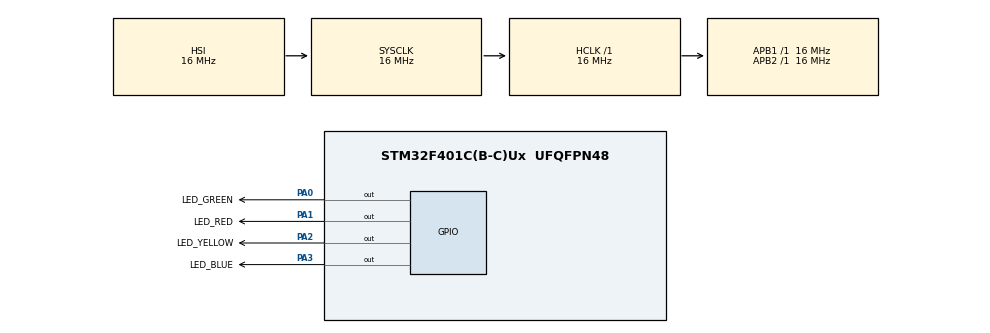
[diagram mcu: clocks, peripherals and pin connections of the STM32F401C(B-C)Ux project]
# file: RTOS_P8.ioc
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FREERTOS.Tasks01=defaultTask,24,128,StartDefaultTask,Default,NULL,Dynamic,NULL,NULL;GreenLedTask,24,128,green_led,Default,NULL,Dynamic,NULL,NULL;RedLedTask,24,128,red_led,Default,NULL,Dynamic,NULL,NULL;YellowLedTask,32,128,yellow_led,Default,NULL,Dynamic,NULL,NULL
FREERTOS.configUSE_NEWLIB_REENTRANT=1
Mcu.Family=STM32F4
Mcu.Name=STM32F401C(B-C)Ux
Mcu.Package=UFQFPN48
NVIC.PriorityGroup=NVIC_PRIORITYGROUP_4
NVIC.TIM4_IRQn=true\:15\:0\:false\:false\:true\:false\:false\:true\:true
NVIC.TimeBase=TIM4_IRQn
NVIC.TimeBaseIP=TIM4
PA0-WKUP.GPIO_Label=LED_GREEN
PA0-WKUP.Signal=GPIO_Output
PA1.GPIO_Label=LED_RED
PA1.Signal=GPIO_Output
PA13.Mode=Serial_Wire
PA13.Signal=SYS_JTMS-SWDIO
PA14.Mode=Serial_Wire
PA14.Signal=SYS_JTCK-SWCLK
PA2.GPIO_Label=LED_YELLOW
PA2.Signal=GPIO_Output
PA3.GPIO_Label=LED_BLUE
PA3.Signal=GPIO_Output
PH0\ -\ OSC_IN.Mode=HSE-External-Oscillator
PH0\ -\ OSC_IN.Signal=RCC_OSC_IN
PH1\ -\ OSC_OUT.Mode=HSE-External-Oscillator
PH1\ -\ OSC_OUT.Signal=RCC_OSC_OUT
ProjectManager.HeapSize=0x200
ProjectManager.StackSize=0x400
ProjectManager.TargetToolchain=STM32CubeIDE
RCC.AHBFreq_Value=16000000
RCC.APB1Freq_Value=16000000
RCC.APB2Freq_Value=16000000
RCC.CortexFreq_Value=16000000
RCC.HSE_VALUE=25000000
RCC.HSI_VALUE=16000000
RCC.LSE_VALUE=32768
RCC.SYSCLKFreq_VALUE=16000000
RCC.VCOOutputFreq_Value=192000000
TIM2.TIM_MasterSlaveMode=TIM_MASTERSLAVEMODE_ENABLE
VP_FREERTOS_VS_CMSIS_V2.Mode=CMSIS_V2
VP_SYS_VS_tim4.Mode=TIM4
VP_TIM2_VS_ClockSourceINT.Mode=Internal
board=custom

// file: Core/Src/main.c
/* USER CODE BEGIN Header */
/**
  ******************************************************************************
  * @file           : main.c
  * @brief          : Main program body
  ******************************************************************************
  * @attention
  *
  * Copyright (c) 2024 STMicroelectronics.
  * All rights reserved.
  *
  * This software is licensed under terms that can be found in the LICENSE file
  * in the root directory of this software component.
  * If no LICENSE file comes with this software, it is provided AS-IS.
  *
  ******************************************************************************
  */
/* USER CODE END Header */
#include "main.h"
#include "cmsis_os.h"

TIM_HandleTypeDef htim2;
osSemaphoreId CriticalResourceSemaphoreHandle;

/* Definitions for defaultTask */
osThreadId_t defaultTaskHandle;
const osThreadAttr_t defaultTask_attributes = {
  .name = "defaultTask",
  .stack_size = 128 * 4,
  .priority = (osPriority_t) osPriorityNormal,
};
/* Definitions for GreenLedTask */
osThreadId_t GreenLedTaskHandle;
const osThreadAttr_t GreenLedTask_attributes = {
  .name = "GreenLedTask",
  .stack_size = 128 * 4,
  .priority = (osPriority_t) osPriorityNormal,
};
/* Definitions for RedLedTask */
osThreadId_t RedLedTaskHandle;
const osThreadAttr_t RedLedTask_attributes = {
  .name = "RedLedTask",
  .stack_size = 128 * 4,
  .priority = (osPriority_t) osPriorityNormal,
};
/* Definitions for YellowLedTask */
osThreadId_t YellowLedTaskHandle;
const osThreadAttr_t YellowLedTask_attributes = {
  .name = "YellowLedTask",
  .stack_size = 128 * 4,
  .priority = (osPriority_t) osPriorityAboveNormal,
};

/* USER CODE BEGIN PV */
		  TIM_HandleTypeDef htim2;
/* USER CODE END PV */
		  /* Definitions for CriticalResourceSemaphore */
		  osSemaphoreId_t CriticalResourceSemaphoreHandle;
		  const osSemaphoreAttr_t CriticalResourceSemaphore_attributes = {
		    .name = "CriticalResourceSemaphore"
		  };
void SystemClock_Config(void);
static void MX_GPIO_Init(void);
static void MX_TIM2_Init(void);
void StartDefaultTask(void *argument);
void green_led(void *argument);
void red_led(void *argument);
void yellow_led(void *argument);

/* USER CODE BEGIN PFP */
uint32_t count = 0;
int flag = 1;

/* USER CODE END PFP */

int main(void)
{

  /* MCU Configuration--------------------------------------------------------*/

  /* Reset of all peripherals, Initializes the Flash interface and the Systick. */
  HAL_Init();

  /* Configure the system clock */
  SystemClock_Config();

  /* Initialize all configured peripherals */
  MX_GPIO_Init();
  MX_TIM2_Init();

  /* Init scheduler */
  osKernelInitialize();

  /* creation of CriticalResourceSemaphore */
   CriticalResourceSemaphoreHandle = osSemaphoreNew(1, 1, &CriticalResourceSemaphore_attributes);

  /* Create the thread(s) */
  /* creation of defaultTask */
  defaultTaskHandle = osThreadNew(StartDefaultTask, NULL, &defaultTask_attributes);

  /* creation of GreenLedTask */
  GreenLedTaskHandle = osThreadNew(green_led, NULL, &GreenLedTask_attributes);

  /* creation of RedLedTask */
  RedLedTaskHandle = osThreadNew(red_led, NULL, &RedLedTask_attributes);

  /* creation of YellowLedTask */
  YellowLedTaskHandle = osThreadNew(yellow_led, NULL, &YellowLedTask_attributes);

  /* Start scheduler */
  osKernelStart();

  /* We should never get here as control is now taken by the scheduler */

  /* Infinite loop */
  while (1)
  {

  }
}

void SystemClock_Config(void)
{
  RCC_OscInitTypeDef RCC_OscInitStruct = {0};
  RCC_ClkInitTypeDef RCC_ClkInitStruct = {0};

  /** Configure the main internal regulator output voltage
  */
  __HAL_RCC_PWR_CLK_ENABLE();
  __HAL_PWR_VOLTAGESCALING_CONFIG(PWR_REGULATOR_VOLTAGE_SCALE2);

  /** Initializes the RCC Oscillators according to the specified parameters
  * in the RCC_OscInitTypeDef structure.
  */
  RCC_OscInitStruct.OscillatorType = RCC_OSCILLATORTYPE_HSI;
  RCC_OscInitStruct.HSIState = RCC_HSI_ON;
  RCC_OscInitStruct.HSICalibrationValue = RCC_HSICALIBRATION_DEFAULT;
  RCC_OscInitStruct.PLL.PLLState = RCC_PLL_NONE;
  if (HAL_RCC_OscConfig(&RCC_OscInitStruct) != HAL_OK)
  {
    Error_Handler();
  }

  /** Initializes the CPU, AHB and APB buses clocks
  */
  RCC_ClkInitStruct.ClockType = RCC_CLOCKTYPE_HCLK|RCC_CLOCKTYPE_SYSCLK
                              |RCC_CLOCKTYPE_PCLK1|RCC_CLOCKTYPE_PCLK2;
  RCC_ClkInitStruct.SYSCLKSource = RCC_SYSCLKSOURCE_HSI;
  RCC_ClkInitStruct.AHBCLKDivider = RCC_SYSCLK_DIV1;
  RCC_ClkInitStruct.APB1CLKDivider = RCC_HCLK_DIV1;
  RCC_ClkInitStruct.APB2CLKDivider = RCC_HCLK_DIV1;

  if (HAL_RCC_ClockConfig(&RCC_ClkInitStruct, FLASH_LATENCY_0) != HAL_OK)
  {
    Error_Handler();
  }
}

static void MX_TIM2_Init(void)
{

  TIM_ClockConfigTypeDef sClockSourceConfig = {0};
  TIM_MasterConfigTypeDef sMasterConfig = {0};

  htim2.Instance = TIM2;
  htim2.Init.Prescaler = 0;
  htim2.Init.CounterMode = TIM_COUNTERMODE_UP;
  htim2.Init.Period = 4294967295;
  htim2.Init.ClockDivision = TIM_CLOCKDIVISION_DIV1;
  htim2.Init.AutoReloadPreload = TIM_AUTORELOAD_PRELOAD_DISABLE;
  if (HAL_TIM_Base_Init(&htim2) != HAL_OK)
  {
    Error_Handler();
  }
  sClockSourceConfig.ClockSource = TIM_CLOCKSOURCE_INTERNAL;
  if (HAL_TIM_ConfigClockSource(&htim2, &sClockSourceConfig) != HAL_OK)
  {
    Error_Handler();
  }
  sMasterConfig.MasterOutputTrigger = TIM_TRGO_RESET;
  sMasterConfig.MasterSlaveMode = TIM_MASTERSLAVEMODE_ENABLE;
  if (HAL_TIMEx_MasterConfigSynchronization(&htim2, &sMasterConfig) != HAL_OK)
  {
    Error_Handler();
  }

}

static void MX_GPIO_Init(void)
{
  GPIO_InitTypeDef GPIO_InitStruct = {0};

  /* GPIO Ports Clock Enable */
  __HAL_RCC_GPIOH_CLK_ENABLE();
  __HAL_RCC_GPIOA_CLK_ENABLE();

  /*Configure GPIO pin Output Level */
  HAL_GPIO_WritePin(GPIOA, LED_GREEN_Pin|LED_RED_Pin|LED_YELLOW_Pin|LED_BLUE_Pin, GPIO_PIN_RESET);

  /*Configure GPIO pins : LED_GREEN_Pin LED_RED_Pin LED_YELLOW_Pin LED_BLUE_Pin */
  GPIO_InitStruct.Pin = LED_GREEN_Pin|LED_RED_Pin|LED_YELLOW_Pin|LED_BLUE_Pin;
  GPIO_InitStruct.Mode = GPIO_MODE_OUTPUT_PP;
  GPIO_InitStruct.Pull = GPIO_NOPULL;
  GPIO_InitStruct.Speed = GPIO_SPEED_FREQ_LOW;
  HAL_GPIO_Init(GPIOA, &GPIO_InitStruct);

}

void StartDefaultTask(void *argument)
{
  for(;;)
  {
    osDelay(1);
  }
}

void green_led(void *argument)
{
  /* USER CODE BEGIN green_led */
  /* Infinite loop */
	for(;;)
		    {
		        HAL_GPIO_WritePin(LED_GREEN_GPIO_Port, LED_GREEN_Pin, GPIO_PIN_SET);  // Nyalakan Green LED

		        osSemaphoreAcquire(CriticalResourceSemaphoreHandle,osWaitForever);
		        AccessSharedData();
		        osSemaphoreRelease(CriticalResourceSemaphoreHandle);
		        osDelay(200);

		        HAL_GPIO_WritePin(LED_GREEN_GPIO_Port, LED_GREEN_Pin, GPIO_PIN_RESET);  // Matikan Green LED
		        osDelay(200);
		    }
  /* USER CODE END green_led */
}

void red_led(void *argument)
{
  /* USER CODE BEGIN red_led */
  /* Infinite loop */
	for(;;)
	    {
	        HAL_GPIO_WritePin(LED_RED_GPIO_Port,LED_RED_Pin, GPIO_PIN_SET);  // Nyalakan Red LED

	        osSemaphoreAcquire(CriticalResourceSemaphoreHandle,osWaitForever);
	        AccessSharedData();
	        osSemaphoreRelease(CriticalResourceSemaphoreHandle);
	        osDelay(550);

	        HAL_GPIO_WritePin(LED_RED_GPIO_Port,LED_RED_Pin, GPIO_PIN_RESET);  // Matikan Red LED
	        osDelay(550);
	    }
  /* USER CODE END red_led */
}

void yellow_led(void *argument)
{
  /* USER CODE BEGIN yellow_led */
	for(;;)
			    {
			        HAL_GPIO_TogglePin(LED_YELLOW_GPIO_Port, LED_YELLOW_Pin);  // Toggle Orange LED
			        osDelay(50);  // 10 Hz flashing rate
			    }
	  /* USER CODE END yel
  /* USER CODE END yellow_led */
}

void AccessSharedData()
{
	if (flag) flag = 0;
	else HAL_GPIO_WritePin(LED_BLUE_GPIO_Port, LED_BLUE_Pin, GPIO_PIN_SET);

	HAL_GPIO_WritePin(LED_BLUE_GPIO_Port, LED_BLUE_Pin, GPIO_PIN_SET);
	TIM2->CNT = 0;
	count = 0;
	HAL_TIM_Base_Start(&htim2);
	while (TIM2->CNT < 1000000)
	{
		count = TIM2->CNT;
	}
	HAL_TIM_Base_Stop(&htim2);

	HAL_GPIO_WritePin(LED_BLUE_GPIO_Port, LED_BLUE_Pin, GPIO_PIN_RESET);

	flag = 1;
}
void HAL_TIM_PeriodElapsedCallback(TIM_HandleTypeDef *htim)
{
  if (htim->Instance == TIM4) {
    HAL_IncTick();
  }
}

void Error_Handler(void)
{
  __disable_irq();
  while (1)
  {
  }
}
